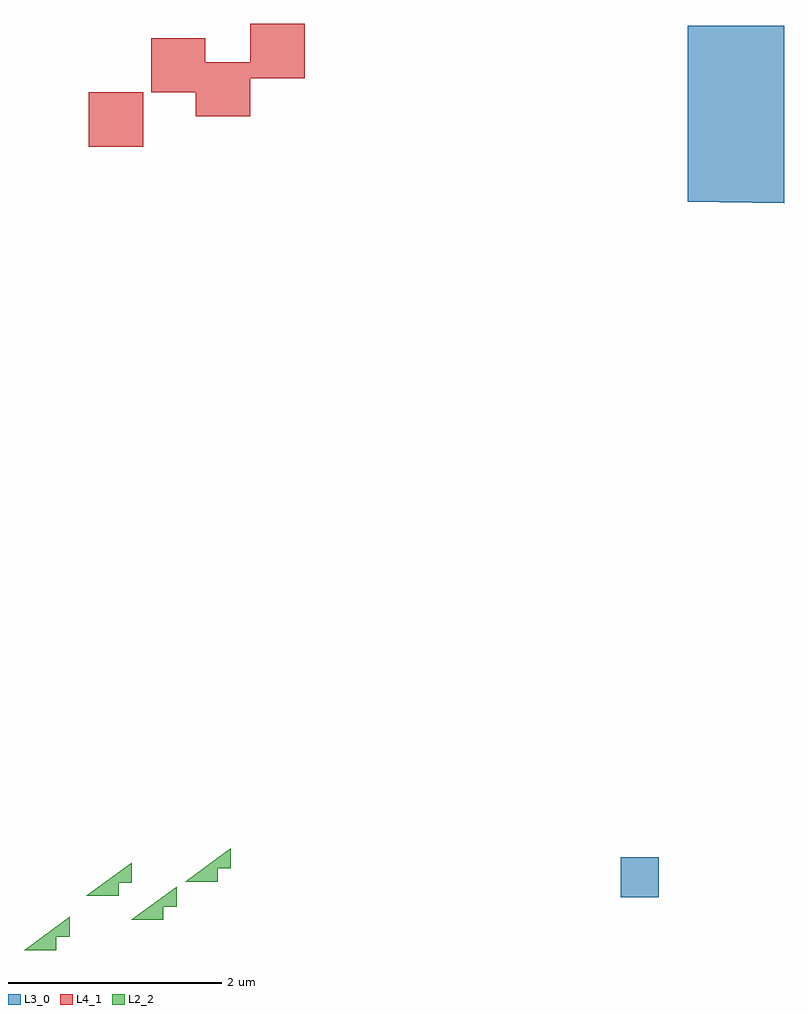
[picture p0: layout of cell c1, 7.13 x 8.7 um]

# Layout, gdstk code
import gdstk
lib = gdstk.Library(unit=1e-6, precision=2.5e-09)
def R(c, l, rs):  # rectangles x0, y0, x1, y1
    for r in rs: c.add(gdstk.rectangle(r[:2], r[2:], *l))
def P(c, l, *ps):  # polygons
    for p in ps: c.add(gdstk.Polygon(p, *l))
L2_2 = (2, 2)
L3_0 = (3, 0)
L4_1 = (4, 1)

c_c1 = lib.new_cell('c1')
P(c_c1, L2_2, [(-1.7325,-2.725),(-1.43,-2.725),(-1.43,-2.6),(-1.305,-2.6),(-1.305,-2.4125)],
  [(-1.1475,-2.215),(-0.845,-2.215),(-0.845,-2.09),(-0.72,-2.09),(-0.72,-1.9025)],
  [(-0.7275,-2.44),(-0.425,-2.44),(-0.425,-2.315),(-0.3,-2.315),(-0.3,-2.1275)],
  [(-0.2175,-2.08),(0.085,-2.08),(0.085,-1.955),(0.21,-1.955),(0.21,-1.7675)])
R(c_c1, L3_0, [(3.87,-2.2275,4.2225,-1.8525)])
P(c_c1, L3_0, [(4.4975,4.2975),(4.4975,4.975),(5.4,4.975),(5.4,4.2875)],
  [(4.4975,4.755),(4.4975,5.4325),(5.4,5.4325),(5.4,4.745)],
  [(4.4975,5.135),(4.4975,5.8125),(5.4,5.8125),(5.4,5.125)],
  [(4.4975,5.275),(4.4975,5.9525),(5.4,5.9525),(5.4,5.265)])
R(c_c1, L4_1, [(-1.125,4.815,-0.615,5.325), (-0.12,5.1,0.39,5.61), (-0.54,5.325,-0.03,5.835), (0.39,5.46,0.9,5.97)])

lib.write_gds('c1.gds')
